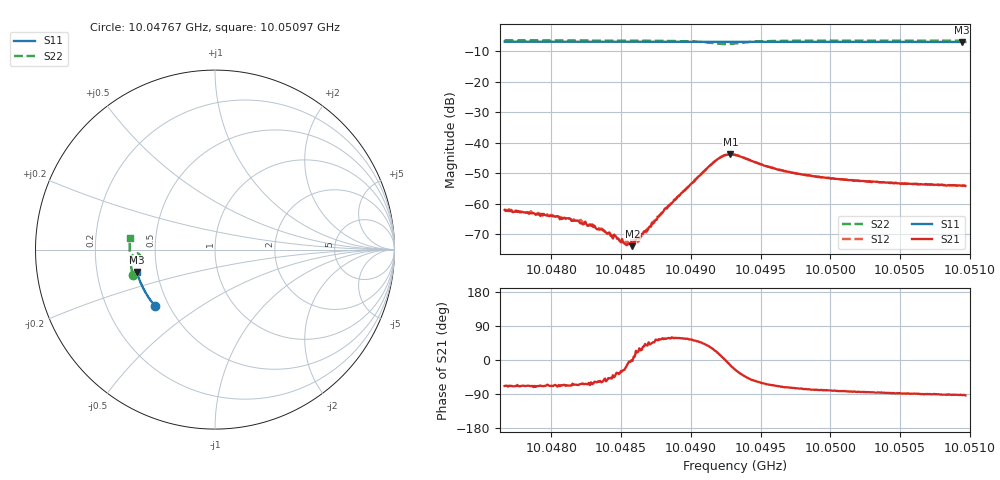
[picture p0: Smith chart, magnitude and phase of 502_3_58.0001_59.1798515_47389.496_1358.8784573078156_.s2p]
#  HZ  S  RI  R  50.00
! Rohde & Schwarz Vector Network Analyzer
! Rohde-Schwarz,ZNB20-2Port,1311601062101988,3.16
! Created: UTC 3/21/2024, 1:12:50 AM
! freq[Hz]  re:S11  im:S11  re:S21  im:S21  re:S12  im:S12  re:S22  im:S22
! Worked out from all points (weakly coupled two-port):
!   401 points, 10.04767 GHz to 10.05097 GHz, reference 50 ohm
!   highest |S21| = -43.82 dB at 10.04928 GHz (marker M1); lowest = -74.0 dB at 10.04858 GHz (marker M2)
!   lowest |S11| = -6.9 dB at 10.05094 GHz (marker M3), VSWR 2.65, Z = 19.2 - j6.01 ohm
!   |S11| at or under -10 dB: nowhere
!   |S22| runs from -7.6 to -6.4 dB; largest |S21 - S12| = 0.00049
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1.0047666e10  -0.3344 -0.3128  0.000288 -0.000733  0.00036 -0.000693  -0.4578 -0.1399
1.0047856e10  -0.3425 -0.3031  0.000253 -0.000644  0.000343 -0.000662  -0.461 -0.127
1.0048037e10  -0.35 -0.2939  0.00023 -0.000576  0.000297 -0.000547  -0.4636 -0.1146
1.0048186e10  -0.3561 -0.2862  0.000217 -0.000482  0.00025 -0.000459  -0.4658 -0.1041
1.0048219e10  -0.3574 -0.2845  0.000217 -0.000422  0.000225 -0.000462  -0.4662 -0.1017
1.0048293e10  -0.3603 -0.2804  0.000198 -0.000407  0.000266 -0.000363  -0.467 -0.0964
1.0048467e10  -0.367 -0.2712  0.000234 -0.000159  0.000224 -0.000117  -0.4687 -0.0832
1.00485e10  -0.3681 -0.2693  0.000203 -0.000112  0.000216 -9.78e-05  -0.4687 -0.0806
1.0048533e10  -0.3694 -0.2676  0.000201 -7.55e-05  0.000237 -5.25e-05  -0.469 -0.078
1.0048582e10  -0.3712 -0.2649  0.0002 -8.74e-06  0.000231 4.11e-05  -0.4692 -0.0739
1.0048615e10  -0.3724 -0.263  0.000254 9.17e-05  0.000217 8.23e-05  -0.4692 -0.0713
1.0048656e10  -0.3739 -0.2608  0.000259 0.000181  0.000264 0.0002  -0.4692 -0.0676
1.0048772e10  -0.378 -0.2544  0.000355 0.000508  0.000327 0.000532  -0.4687 -0.0571
1.0049152e10  -0.3906 -0.2327  0.00384 0.00231  0.00372 0.00254  -0.4346 -0.0201
1.0049226e10  -0.3926 -0.2285  0.00591 0.000803  0.00591 0.00118  -0.4171 -0.0329
1.0049284e10  -0.3944 -0.2255  0.00625 -0.00156  0.00635 -0.00113  -0.4175 -0.052
1.0049317e10  -0.3953 -0.2236  0.00568 -0.00267  0.00593 -0.0023  -0.4241 -0.0599
1.0049623e10  -0.4048 -0.2059  0.00131 -0.00337  0.00154 -0.00332  -0.4685 -0.041
1.004987e10  -0.4117 -0.1911  0.000573 -0.00278  0.000753 -0.00273  -0.4741 -0.0178
1.0050424e10  -0.4247 -0.1573  9.88e-05 -0.0022  0.000207 -0.00217  -0.4753 0.0244
1.0050944e10  -0.4346 -0.1247  -9.36e-05 -0.00196  4.78e-06 -0.00198  -0.4722 0.0605
1.0050969e10  -0.435 -0.1232  -0.000114 -0.00194  4.16e-05 -0.00196  -0.4719 0.0621
